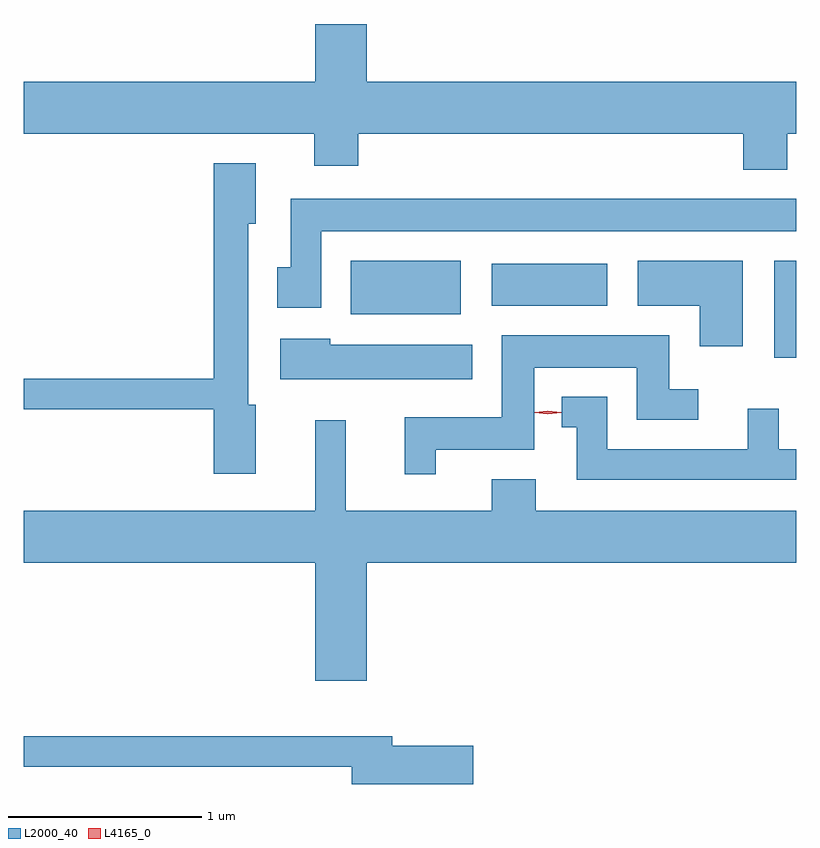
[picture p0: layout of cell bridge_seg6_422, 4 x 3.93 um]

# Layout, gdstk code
import gdstk
lib = gdstk.Library(unit=1e-6, precision=1e-09)
def R(c, l, rs):  # rectangles x0, y0, x1, y1
    for r in rs: c.add(gdstk.rectangle(r[:2], r[2:], *l))
def P(c, l, *ps):  # polygons
    for p in ps: c.add(gdstk.Polygon(p, *l))
L2000_40 = (2000, 40)
L4165_0 = (4165, 0)

bridge_seg6_422 = lib.new_cell('bridge_seg6_422')
R(bridge_seg6_422, L2000_40, [(816.851,1639.896,816.967,1640.399), (814.661,1640.121,815.229,1640.399), (815.391,1640.166,815.989,1640.384)])
P(bridge_seg6_422, L2000_40, [(816.919,1641.056),(816.967,1641.056),(816.967,1641.324),(814.744,1641.324),(814.744,1641.624),(814.476,1641.624),(814.476,1641.324),(812.967,1641.324),(812.967,1641.056),(814.471,1641.056),(814.471,1640.891),(814.699,1640.891),(814.699,1641.056),(816.691,1641.056),(816.691,1640.871),(816.919,1640.871)],
  [(814.169,1639.654),(814.129,1639.654),(814.129,1640.591),(814.169,1640.591),(814.169,1640.904),(813.951,1640.904),(813.951,1639.789),(812.967,1639.789),(812.967,1639.631),(813.951,1639.631),(813.951,1639.296),(814.169,1639.296)],
  [(814.509,1640.551),(816.967,1640.551),(816.967,1640.719),(814.351,1640.719),(814.351,1640.364),(814.281,1640.364),(814.281,1640.156),(814.509,1640.156)],
  [(816.689,1640.399),(816.146,1640.399),(816.146,1640.166),(816.466,1640.166),(816.466,1639.956),(816.689,1639.956)],
  [(815.099,1639.421),(815.609,1639.421),(815.609,1639.846),(816.141,1639.846),(816.141,1639.576),(816.458,1639.576),(816.458,1639.734),(816.309,1639.734),(816.309,1640.014),(815.441,1640.014),(815.441,1639.589),(814.941,1639.589),(814.941,1639.293),(815.099,1639.293)],
  [(815.289,1639.964),(814.554,1639.964),(814.554,1639.994),(814.296,1639.994),(814.296,1639.786),(815.289,1639.786)],
  [(816.967,1639.424),(816.874,1639.424),(816.874,1639.633),(816.716,1639.633),(816.716,1639.424),(815.989,1639.424),(815.989,1639.694),(815.753,1639.694),(815.753,1639.536),(815.831,1639.536),(815.831,1639.266),(816.967,1639.266)],
  [(814.744,1638.836),(816.967,1638.836),(816.967,1639.104),(815.619,1639.104),(815.619,1639.269),(815.391,1639.269),(815.391,1639.104),(814.634,1639.104),(814.634,1639.573),(814.476,1639.573),(814.476,1639.104),(812.967,1639.104),(812.967,1638.836),(814.476,1638.836),(814.476,1638.226),(814.744,1638.226)],
  [(815.294,1637.889),(814.874,1637.889),(814.874,1637.939),(812.967,1637.939),(812.967,1637.781),(814.666,1637.781),(814.666,1637.691),(815.294,1637.691)])
P(bridge_seg6_422, L4165_0, [(815.681,1639.604),(815.612,1639.613),(815.612,1639.614),(815.612,1639.614),(815.681,1639.623),(815.751,1639.614),(815.751,1639.613),(815.751,1639.613)])

lib.write_gds('bridge_seg6_422.gds')
